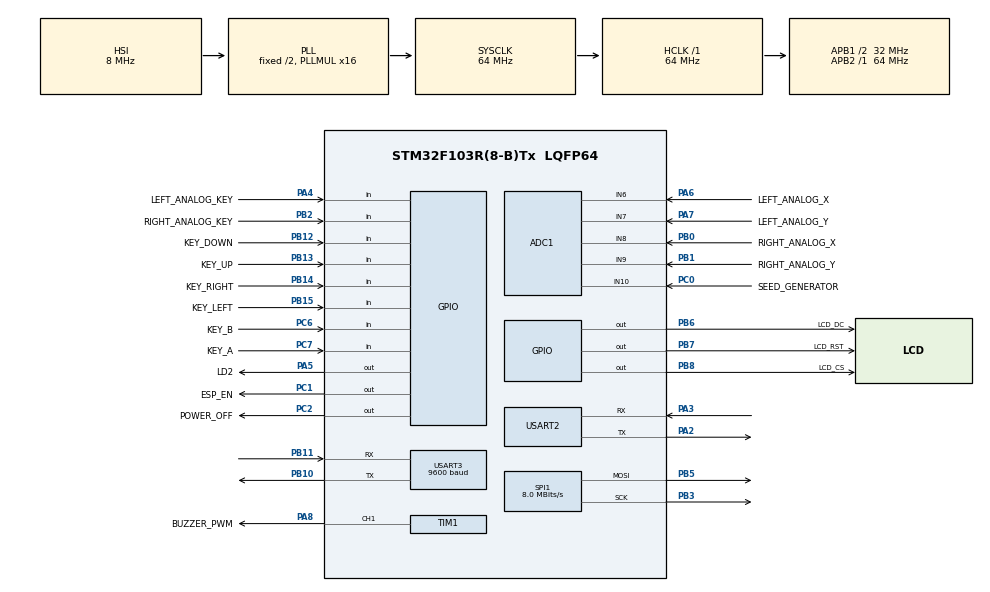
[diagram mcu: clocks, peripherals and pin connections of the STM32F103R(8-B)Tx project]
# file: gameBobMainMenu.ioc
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ADC1.Channel-0\#ChannelRegularConversion=ADC_CHANNEL_6
ADC1.NbrOfConversionFlag=1
ADC1.Rank-0\#ChannelRegularConversion=1
ADC1.SamplingTime-0\#ChannelRegularConversion=ADC_SAMPLETIME_1CYCLE_5
ADC1.master=1
Dma.Request0=SPI1_TX
Dma.SPI1_TX.0.Direction=DMA_MEMORY_TO_PERIPH
Dma.SPI1_TX.0.Instance=DMA1_Channel3
Dma.SPI1_TX.0.MemDataAlignment=DMA_MDATAALIGN_BYTE
Dma.SPI1_TX.0.MemInc=DMA_MINC_ENABLE
Dma.SPI1_TX.0.Mode=DMA_NORMAL
Dma.SPI1_TX.0.PeriphDataAlignment=DMA_PDATAALIGN_BYTE
Dma.SPI1_TX.0.PeriphInc=DMA_PINC_DISABLE
Dma.SPI1_TX.0.Priority=DMA_PRIORITY_LOW
Mcu.Family=STM32F1
Mcu.Name=STM32F103R(8-B)Tx
Mcu.Package=LQFP64
NVIC.DMA1_Channel3_IRQn=true\:0\:0\:false\:false\:true\:false\:true\:true
NVIC.PriorityGroup=NVIC_PRIORITYGROUP_4
NVIC.TIM2_IRQn=true\:15\:0\:false\:false\:true\:false\:true\:true
NVIC.TimeBase=TIM2_IRQn
NVIC.TimeBaseIP=TIM2
NVIC.USART2_IRQn=true\:0\:0\:false\:false\:true\:true\:true\:true
NVIC.USART3_IRQn=true\:0\:0\:false\:false\:true\:true\:true\:true
PA13.Mode=Serial_Wire
PA13.Signal=SYS_JTMS-SWDIO
PA14.Mode=Serial_Wire
PA14.Signal=SYS_JTCK-SWCLK
PA2.Mode=Asynchronous
PA2.Signal=USART2_TX
PA3.Mode=Asynchronous
PA3.Signal=USART2_RX
PA4.GPIO_Label=LEFT_ANALOG_KEY
PA4.GPIO_PuPd=GPIO_PULLUP
PA4.Signal=GPIO_Input
PA5.GPIO_Label=LD2
PA5.Signal=GPIO_Output
PA6.GPIO_Label=LEFT_ANALOG_X
PA6.Signal=ADCx_IN6
PA7.GPIO_Label=LEFT_ANALOG_Y
PA7.Signal=ADCx_IN7
PA8.GPIO_Label=BUZZER_PWM
PA8.Signal=S_TIM1_CH1
PB0.GPIO_Label=RIGHT_ANALOG_X
PB0.Signal=ADCx_IN8
PB1.GPIO_Label=RIGHT_ANALOG_Y
PB1.Signal=ADCx_IN9
PB10.Mode=Asynchronous
PB10.Signal=USART3_TX
PB11.Mode=Asynchronous
PB11.Signal=USART3_RX
PB12.GPIO_Label=KEY_DOWN
PB12.GPIO_PuPd=GPIO_PULLUP
PB12.Signal=GPIO_Input
PB13.GPIO_Label=KEY_UP
PB13.GPIO_PuPd=GPIO_PULLUP
PB13.Signal=GPIO_Input
PB14.GPIO_Label=KEY_RIGHT
PB14.GPIO_PuPd=GPIO_PULLUP
PB14.Signal=GPIO_Input
PB15.GPIO_Label=KEY_LEFT
PB15.GPIO_PuPd=GPIO_PULLUP
PB15.Signal=GPIO_Input
PB2.GPIO_Label=RIGHT_ANALOG_KEY
PB2.GPIO_PuPd=GPIO_PULLUP
PB2.Signal=GPIO_Input
PB3.Mode=TX_Only_Simplex_Unidirect_Master
PB3.Signal=SPI1_SCK
PB5.Mode=TX_Only_Simplex_Unidirect_Master
PB5.Signal=SPI1_MOSI
PB6.GPIO_Label=LCD_DC
PB6.GPIO_Speed=GPIO_SPEED_FREQ_HIGH
PB6.PinState=GPIO_PIN_SET
PB6.Signal=GPIO_Output
PB7.GPIO_Label=LCD_RST
PB7.GPIO_PuPd=GPIO_PULLUP
PB7.GPIO_Speed=GPIO_SPEED_FREQ_HIGH
PB7.PinState=GPIO_PIN_SET
PB7.Signal=GPIO_Output
PB8.GPIO_Label=LCD_CS
PB8.GPIO_PuPd=GPIO_PULLUP
PB8.GPIO_Speed=GPIO_SPEED_FREQ_HIGH
PB8.PinState=GPIO_PIN_SET
PB8.Signal=GPIO_Output
PC0.GPIO_Label=SEED_GENERATOR
PC0.Signal=ADCx_IN10
PC1.GPIO_Label=ESP_EN
PC1.GPIO_PuPd=GPIO_PULLDOWN
PC1.Signal=GPIO_Output
PC2.GPIO_Label=POWER_OFF
PC2.Signal=GPIO_Output
PC6.GPIO_Label=KEY_B
PC6.GPIO_PuPd=GPIO_PULLUP
PC6.Signal=GPIO_Input
PC7.GPIO_Label=KEY_A
PC7.GPIO_PuPd=GPIO_PULLUP
PC7.Signal=GPIO_Input
ProjectManager.HeapSize=0x200
ProjectManager.StackSize=0x400
ProjectManager.TargetToolchain=CMake
RCC.ADCPresc=RCC_ADCPCLK2_DIV6
RCC.AHBFreq_Value=64000000
RCC.APB1CLKDivider=RCC_HCLK_DIV2
RCC.APB1Freq_Value=32000000
RCC.APB1TimFreq_Value=64000000
RCC.APB2Freq_Value=64000000
RCC.APB2TimFreq_Value=64000000
RCC.HCLKFreq_Value=64000000
RCC.PLLMUL=RCC_PLL_MUL16
RCC.SYSCLKFreq_VALUE=64000000
RCC.SYSCLKSource=RCC_SYSCLKSOURCE_PLLCLK
RCC.USBFreq_Value=64000000
SH.ADCx_IN10.0=ADC1_IN10,IN10
SH.ADCx_IN6.0=ADC1_IN6,IN6
SH.ADCx_IN7.0=ADC1_IN7,IN7
SH.ADCx_IN8.0=ADC1_IN8,IN8
SH.ADCx_IN9.0=ADC1_IN9,IN9
SH.S_TIM1_CH1.0=TIM1_CH1,PWM Generation1 CH1
SPI1.BaudRatePrescaler=SPI_BAUDRATEPRESCALER_8
SPI1.CalculateBaudRate=8.0 MBits/s
SPI1.Direction=SPI_DIRECTION_2LINES
SPI1.Mode=SPI_MODE_MASTER
SPI1.VirtualType=VM_MASTER
TIM1.AutoReloadPreload=TIM_AUTORELOAD_PRELOAD_DISABLE
TIM1.Channel-PWM\ Generation1\ CH1=TIM_CHANNEL_1
TIM1.Period=10006
TIM1.Prescaler=0
TIM1.Pulse-PWM\ Generation1\ CH1=500
USART2.VirtualMode=VM_ASYNC
USART3.BaudRate=9600
USART3.VirtualMode=VM_ASYNC
VP_SYS_VS_tim2.Mode=TIM2
board=custom

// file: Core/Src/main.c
/* USER CODE BEGIN Header */
/**
  ******************************************************************************
  * @file           : main.c
  * @brief          : Main program body
  ******************************************************************************
  * @attention
  *
  * Copyright (c) 2025 STMicroelectronics.
  * All rights reserved.
  *
  * This software is licensed under terms that can be found in the LICENSE file
  * in the root directory of this software component.
  * If no LICENSE file comes with this software, it is provided AS-IS.
  *
  ******************************************************************************
  */
/* USER CODE END Header */
#include "main.h"

/* USER CODE BEGIN Includes */
#include "projdefs.h"
#include "stm32f1xx_hal_uart.h"
#include "string.h"
#include "stdio.h"
#include "FreeRTOS.h"
#include "task.h"
#include "lcd.h"
#include "ugui.h"
#include "ugui_colors.h"
#include "user.h"
#include "images.h"
#include "main_menu.h"
#include "esp8266.h"
#include "WiFiConnection.h"
#include <inttypes.h>
#include <stdlib.h>
#include "extraTools.h"
/* USER CODE END Includes */

/* USER CODE BEGIN PM */
#define MAX_GAMES 5
#define MAX_GAME_NAME 10

#define DEFAULT_FONT FONT_6X8
#define TIM_FREQ 64000000
#define MAX_OBJECTS 10 //uGUI

//FLASH DEFINES
#define FLASH_GAME_START_ADDR   ADDR_FLASH_PAGE_64   /* Start @ of user Flash area */
#define FLASH_GAME_END_ADDR     ADDR_FLASH_PAGE_127 + FLASH_PAGE_SIZE   /* End @ of user Flash area */
/* USER CODE END PM */

ADC_HandleTypeDef hadc1;

SPI_HandleTypeDef hspi1;
DMA_HandleTypeDef hdma_spi1_tx;

TIM_HandleTypeDef htim1;

UART_HandleTypeDef huart2;
UART_HandleTypeDef huart3;

/* USER CODE BEGIN PV */
//test

static USER_INPUT uInput;
static USER_INPUT uInputOld;
static ActiveGameBobOption selected_menu_option = PLAY_GAME;
static ActiveScreen screen = MAIN_MENU_SCREEN;
static StaticTask_t xIdleTaskTCBBuffer;
static StackType_t xIdleStack[configMINIMAL_STACK_SIZE];

/*SELECT GAME VARIABLES */
static uint8_t nr_of_games = 0;
static uint8_t selected_game = 0;
static char games[MAX_GAMES][MAX_GAME_NAME];

/* UART BUFFER */

//uint8_t rx[50] = {0};
//volatile uint8_t found_flag = 0;
//uint8_t rx_index = 0;
//volatile uint8_t tx_completed_flag = 0;

/* USER CODE END PV */

void SystemClock_Config(void);
static void MX_GPIO_Init(void);
static void MX_DMA_Init(void);
static void MX_SPI1_Init(void);
static void MX_ADC1_Init(void);
static void MX_USART2_UART_Init(void);
static void MX_TIM1_Init(void);
static void MX_USART3_UART_Init(void);
/* USER CODE BEGIN PFP */
void vApplicationGetIdleTaskMemory( StaticTask_t **ppxIdleTaskTCBBuffer, StackType_t **ppxIdleTaskStackBuffer, uint32_t *pulIdleTaskStackSize );
void ADC_SetActiveChannel(ADC_HandleTypeDef *hadc, uint32_t AdcChannel);
static void initUserInput(USER_INPUT *uInput);
static void updateSelectedOption(ActiveGameBobOption selected_menu_option);
static void bootGame();
static void MX_TIM1_DeInit();
static void drawPic(PICTURE pic, uint16_t x, uint16_t y);

//POWER OFF AND FW CHANGE
static void deInitPeripherals();
static void powerOFF();

//FLASHING RELATED FUNCTIONS
static HAL_StatusTypeDef eraseOldGame();
static uint8_t checkCurrentGame(uint32_t _game_id);

//SCREEN RELATED FUNCTIONS
static void drawMainMenu();
static void mainMenuScreenLogic();
static void drawSelectGameScreen();
static void selectGameScreenLogic();
static void drawFailureScreen();
static void updateSelectedGame(uint8_t hightlighted_game);
static void updateDownloadProgress(char *part, char *nr_of_parts);
static void clearScreen();

//WiFi CONNECTION RELATED FUNCTIONS
static uint8_t initWiFi();
static uint8_t connectToWiFi();
static uint8_t getGameList(char *ret_buffer, size_t size );
static uint8_t downloadGame();
static uint8_t getGameInfo(uint8_t _selected_game, uint32_t *_game_id, int *_number_of_parts);
static int findDataBlockEnd(int offset);

//uGUI

/* TASK FUNCTIONS */
static void testTask( void *pvParameters );
static void taskMainMenu(void *pvParameters);
static void taskGetUserInput(void *pvParameters);
static void taskGameLogic(void *pvParameters);
TaskHandle_t h_task_main_menu = NULL;
TaskHandle_t h_task_game_logic = NULL;

/* USER CODE END PFP */

int main(void)
{

  /* USER CODE BEGIN 1 */
	/*
	CoreDebug->DEMCR |= CoreDebug_DEMCR_TRCENA_Msk; // Enable DWT
	DWT->CYCCNT = 0;                                // Clear counter
	DWT->CTRL = DWT_CTRL_CYCCNTENA_Msk;             // Enable counter
	*/
	BaseType_t xReturned;
  /* USER CODE END 1 */

  /* MCU Configuration--------------------------------------------------------*/

  /* Reset of all peripherals, Initializes the Flash interface and the Systick. */
  HAL_Init();

  /* Configure the system clock */
  SystemClock_Config();

  /* Initialize all configured peripherals */
  MX_GPIO_Init();
  MX_DMA_Init();
  MX_SPI1_Init();
  MX_ADC1_Init();
  MX_USART2_UART_Init();
  MX_TIM1_Init();
  MX_USART3_UART_Init();
  /* USER CODE BEGIN 2 */
  LCD_init();
  initUserInput(&uInput);

  	#ifdef DEBUG_LOG
		static char debug_output[50];
		sprintf(debug_output,"TEST \n");
		HAL_UART_Transmit_IT(&huart2, (uint8_t*)debug_output, strlen(debug_output));
	#endif
  xReturned = xTaskCreate(testTask, "task", 256, NULL, 1, NULL);
  xReturned = xTaskCreate(taskMainMenu,"taskMainMenu",256,NULL,3,&h_task_main_menu);
  xReturned = xTaskCreate(taskGetUserInput,"taskGetUserInput",256,NULL,2,NULL);

  //xReturned = xTaskCreate(taskGameLogic, "taskGameLogic", 512, NULL, 3, NULL);
  vTaskStartScheduler();
  /* USER CODE END 2 */

  /* Infinite loop */
  while (1)
  {

  }
}

void SystemClock_Config(void)
{
  RCC_OscInitTypeDef RCC_OscInitStruct = {0};
  RCC_ClkInitTypeDef RCC_ClkInitStruct = {0};
  RCC_PeriphCLKInitTypeDef PeriphClkInit = {0};

  /** Initializes the RCC Oscillators according to the specified parameters
  * in the RCC_OscInitTypeDef structure.
  */
  RCC_OscInitStruct.OscillatorType = RCC_OSCILLATORTYPE_HSI;
  RCC_OscInitStruct.HSIState = RCC_HSI_ON;
  RCC_OscInitStruct.HSICalibrationValue = RCC_HSICALIBRATION_DEFAULT;
  RCC_OscInitStruct.PLL.PLLState = RCC_PLL_ON;
  RCC_OscInitStruct.PLL.PLLSource = RCC_PLLSOURCE_HSI_DIV2;
  RCC_OscInitStruct.PLL.PLLMUL = RCC_PLL_MUL16;
  if (HAL_RCC_OscConfig(&RCC_OscInitStruct) != HAL_OK)
  {
    Error_Handler();
  }

  /** Initializes the CPU, AHB and APB buses clocks
  */
  RCC_ClkInitStruct.ClockType = RCC_CLOCKTYPE_HCLK|RCC_CLOCKTYPE_SYSCLK
                              |RCC_CLOCKTYPE_PCLK1|RCC_CLOCKTYPE_PCLK2;
  RCC_ClkInitStruct.SYSCLKSource = RCC_SYSCLKSOURCE_PLLCLK;
  RCC_ClkInitStruct.AHBCLKDivider = RCC_SYSCLK_DIV1;
  RCC_ClkInitStruct.APB1CLKDivider = RCC_HCLK_DIV2;
  RCC_ClkInitStruct.APB2CLKDivider = RCC_HCLK_DIV1;

  if (HAL_RCC_ClockConfig(&RCC_ClkInitStruct, FLASH_LATENCY_2) != HAL_OK)
  {
    Error_Handler();
  }
  PeriphClkInit.PeriphClockSelection = RCC_PERIPHCLK_ADC;
  PeriphClkInit.AdcClockSelection = RCC_ADCPCLK2_DIV6;
  if (HAL_RCCEx_PeriphCLKConfig(&PeriphClkInit) != HAL_OK)
  {
    Error_Handler();
  }
}

static void MX_ADC1_Init(void)
{

  ADC_ChannelConfTypeDef sConfig = {0};

  /** Common config
  */
  hadc1.Instance = ADC1;
  hadc1.Init.ScanConvMode = ADC_SCAN_DISABLE;
  hadc1.Init.ContinuousConvMode = DISABLE;
  hadc1.Init.DiscontinuousConvMode = DISABLE;
  hadc1.Init.ExternalTrigConv = ADC_SOFTWARE_START;
  hadc1.Init.DataAlign = ADC_DATAALIGN_RIGHT;
  hadc1.Init.NbrOfConversion = 1;
  if (HAL_ADC_Init(&hadc1) != HAL_OK)
  {
    Error_Handler();
  }

  /** Configure Regular Channel
  */
  sConfig.Channel = ADC_CHANNEL_6;
  sConfig.Rank = ADC_REGULAR_RANK_1;
  sConfig.SamplingTime = ADC_SAMPLETIME_1CYCLE_5;
  if (HAL_ADC_ConfigChannel(&hadc1, &sConfig) != HAL_OK)
  {
    Error_Handler();
  }

}

static void MX_SPI1_Init(void)
{

  /* SPI1 parameter configuration*/
  hspi1.Instance = SPI1;
  hspi1.Init.Mode = SPI_MODE_MASTER;
  hspi1.Init.Direction = SPI_DIRECTION_2LINES;
  hspi1.Init.DataSize = SPI_DATASIZE_8BIT;
  hspi1.Init.CLKPolarity = SPI_POLARITY_LOW;
  hspi1.Init.CLKPhase = SPI_PHASE_1EDGE;
  hspi1.Init.NSS = SPI_NSS_SOFT;
  hspi1.Init.BaudRatePrescaler = SPI_BAUDRATEPRESCALER_8;
  hspi1.Init.FirstBit = SPI_FIRSTBIT_MSB;
  hspi1.Init.TIMode = SPI_TIMODE_DISABLE;
  hspi1.Init.CRCCalculation = SPI_CRCCALCULATION_DISABLE;
  hspi1.Init.CRCPolynomial = 10;
  if (HAL_SPI_Init(&hspi1) != HAL_OK)
  {
    Error_Handler();
  }

}

static void MX_TIM1_Init(void)
{

  TIM_MasterConfigTypeDef sMasterConfig = {0};
  TIM_OC_InitTypeDef sConfigOC = {0};
  TIM_BreakDeadTimeConfigTypeDef sBreakDeadTimeConfig = {0};

  htim1.Instance = TIM1;
  htim1.Init.Prescaler = 0;
  htim1.Init.CounterMode = TIM_COUNTERMODE_UP;
  htim1.Init.Period = 10006;
  htim1.Init.ClockDivision = TIM_CLOCKDIVISION_DIV1;
  htim1.Init.RepetitionCounter = 0;
  htim1.Init.AutoReloadPreload = TIM_AUTORELOAD_PRELOAD_DISABLE;
  if (HAL_TIM_PWM_Init(&htim1) != HAL_OK)
  {
    Error_Handler();
  }
  sMasterConfig.MasterOutputTrigger = TIM_TRGO_RESET;
  sMasterConfig.MasterSlaveMode = TIM_MASTERSLAVEMODE_DISABLE;
  if (HAL_TIMEx_MasterConfigSynchronization(&htim1, &sMasterConfig) != HAL_OK)
  {
    Error_Handler();
  }
  sConfigOC.OCMode = TIM_OCMODE_PWM1;
  sConfigOC.Pulse = 500;
  sConfigOC.OCPolarity = TIM_OCPOLARITY_HIGH;
  sConfigOC.OCNPolarity = TIM_OCNPOLARITY_HIGH;
  sConfigOC.OCFastMode = TIM_OCFAST_DISABLE;
  sConfigOC.OCIdleState = TIM_OCIDLESTATE_RESET;
  sConfigOC.OCNIdleState = TIM_OCNIDLESTATE_RESET;
  if (HAL_TIM_PWM_ConfigChannel(&htim1, &sConfigOC, TIM_CHANNEL_1) != HAL_OK)
  {
    Error_Handler();
  }
  sBreakDeadTimeConfig.OffStateRunMode = TIM_OSSR_DISABLE;
  sBreakDeadTimeConfig.OffStateIDLEMode = TIM_OSSI_DISABLE;
  sBreakDeadTimeConfig.LockLevel = TIM_LOCKLEVEL_OFF;
  sBreakDeadTimeConfig.DeadTime = 0;
  sBreakDeadTimeConfig.BreakState = TIM_BREAK_DISABLE;
  sBreakDeadTimeConfig.BreakPolarity = TIM_BREAKPOLARITY_HIGH;
  sBreakDeadTimeConfig.AutomaticOutput = TIM_AUTOMATICOUTPUT_DISABLE;
  if (HAL_TIMEx_ConfigBreakDeadTime(&htim1, &sBreakDeadTimeConfig) != HAL_OK)
  {
    Error_Handler();
  }
  HAL_TIM_MspPostInit(&htim1);

}

static void MX_USART2_UART_Init(void)
{

  huart2.Instance = USART2;
  huart2.Init.BaudRate = 115200;
  huart2.Init.WordLength = UART_WORDLENGTH_8B;
  huart2.Init.StopBits = UART_STOPBITS_1;
  huart2.Init.Parity = UART_PARITY_NONE;
  huart2.Init.Mode = UART_MODE_TX_RX;
  huart2.Init.HwFlowCtl = UART_HWCONTROL_NONE;
  huart2.Init.OverSampling = UART_OVERSAMPLING_16;
  if (HAL_UART_Init(&huart2) != HAL_OK)
  {
    Error_Handler();
  }

}

static void MX_USART3_UART_Init(void)
{

  huart3.Instance = USART3;
  huart3.Init.BaudRate = 9600;
  huart3.Init.WordLength = UART_WORDLENGTH_8B;
  huart3.Init.StopBits = UART_STOPBITS_1;
  huart3.Init.Parity = UART_PARITY_NONE;
  huart3.Init.Mode = UART_MODE_TX_RX;
  huart3.Init.HwFlowCtl = UART_HWCONTROL_NONE;
  huart3.Init.OverSampling = UART_OVERSAMPLING_16;
  if (HAL_UART_Init(&huart3) != HAL_OK)
  {
    Error_Handler();
  }

}

static void MX_DMA_Init(void)
{

  /* DMA controller clock enable */
  __HAL_RCC_DMA1_CLK_ENABLE();

  /* DMA interrupt init */
  /* DMA1_Channel3_IRQn interrupt configuration */
  HAL_NVIC_SetPriority(DMA1_Channel3_IRQn, 0, 0);
  HAL_NVIC_EnableIRQ(DMA1_Channel3_IRQn);

}

static void MX_GPIO_Init(void)
{
  GPIO_InitTypeDef GPIO_InitStruct = {0};

  /* GPIO Ports Clock Enable */
  __HAL_RCC_GPIOC_CLK_ENABLE();
  __HAL_RCC_GPIOA_CLK_ENABLE();
  __HAL_RCC_GPIOB_CLK_ENABLE();

  /*Configure GPIO pin Output Level */
  HAL_GPIO_WritePin(GPIOC, ESP_EN_Pin|POWER_OFF_Pin, GPIO_PIN_RESET);

  /*Configure GPIO pin Output Level */
  HAL_GPIO_WritePin(LD2_GPIO_Port, LD2_Pin, GPIO_PIN_RESET);

  /*Configure GPIO pin Output Level */
  HAL_GPIO_WritePin(GPIOB, LCD_DC_Pin|LCD_RST_Pin|LCD_CS_Pin, GPIO_PIN_SET);

  /*Configure GPIO pin : ESP_EN_Pin */
  GPIO_InitStruct.Pin = ESP_EN_Pin;
  GPIO_InitStruct.Mode = GPIO_MODE_OUTPUT_PP;
  GPIO_InitStruct.Pull = GPIO_PULLDOWN;
  GPIO_InitStruct.Speed = GPIO_SPEED_FREQ_LOW;
  HAL_GPIO_Init(ESP_EN_GPIO_Port, &GPIO_InitStruct);

  /*Configure GPIO pin : POWER_OFF_Pin */
  GPIO_InitStruct.Pin = POWER_OFF_Pin;
  GPIO_InitStruct.Mode = GPIO_MODE_OUTPUT_PP;
  GPIO_InitStruct.Pull = GPIO_NOPULL;
  GPIO_InitStruct.Speed = GPIO_SPEED_FREQ_LOW;
  HAL_GPIO_Init(POWER_OFF_GPIO_Port, &GPIO_InitStruct);

  /*Configure GPIO pin : LEFT_ANALOG_KEY_Pin */
  GPIO_InitStruct.Pin = LEFT_ANALOG_KEY_Pin;
  GPIO_InitStruct.Mode = GPIO_MODE_INPUT;
  GPIO_InitStruct.Pull = GPIO_PULLUP;
  HAL_GPIO_Init(LEFT_ANALOG_KEY_GPIO_Port, &GPIO_InitStruct);

  /*Configure GPIO pin : LD2_Pin */
  GPIO_InitStruct.Pin = LD2_Pin;
  GPIO_InitStruct.Mode = GPIO_MODE_OUTPUT_PP;
  GPIO_InitStruct.Pull = GPIO_NOPULL;
  GPIO_InitStruct.Speed = GPIO_SPEED_FREQ_LOW;
  HAL_GPIO_Init(LD2_GPIO_Port, &GPIO_InitStruct);

  /*Configure GPIO pins : RIGHT_ANALOG_KEY_Pin KEY_DOWN_Pin KEY_UP_Pin KEY_RIGHT_Pin
                           KEY_LEFT_Pin */
  GPIO_InitStruct.Pin = RIGHT_ANALOG_KEY_Pin|KEY_DOWN_Pin|KEY_UP_Pin|KEY_RIGHT_Pin
                          |KEY_LEFT_Pin;
  GPIO_InitStruct.Mode = GPIO_MODE_INPUT;
  GPIO_InitStruct.Pull = GPIO_PULLUP;
  HAL_GPIO_Init(GPIOB, &GPIO_InitStruct);

  /*Configure GPIO pins : KEY_B_Pin KEY_A_Pin */
  GPIO_InitStruct.Pin = KEY_B_Pin|KEY_A_Pin;
  GPIO_InitStruct.Mode = GPIO_MODE_INPUT;
  GPIO_InitStruct.Pull = GPIO_PULLUP;
  HAL_GPIO_Init(GPIOC, &GPIO_InitStruct);

  /*Configure GPIO pin : LCD_DC_Pin */
  GPIO_InitStruct.Pin = LCD_DC_Pin;
  GPIO_InitStruct.Mode = GPIO_MODE_OUTPUT_PP;
  GPIO_InitStruct.Pull = GPIO_NOPULL;
  GPIO_InitStruct.Speed = GPIO_SPEED_FREQ_HIGH;
  HAL_GPIO_Init(LCD_DC_GPIO_Port, &GPIO_InitStruct);

  /*Configure GPIO pins : LCD_RST_Pin LCD_CS_Pin */
  GPIO_InitStruct.Pin = LCD_RST_Pin|LCD_CS_Pin;
  GPIO_InitStruct.Mode = GPIO_MODE_OUTPUT_PP;
  GPIO_InitStruct.Pull = GPIO_PULLUP;
  GPIO_InitStruct.Speed = GPIO_SPEED_FREQ_HIGH;
  HAL_GPIO_Init(GPIOB, &GPIO_InitStruct);

}

/* USER CODE BEGIN 4 */

void ADC_SetActiveChannel(ADC_HandleTypeDef *hadc, uint32_t AdcChannel)
{
  ADC_ChannelConfTypeDef sConfig = {0};
  sConfig.Channel = AdcChannel;
  sConfig.Rank = 1;
  sConfig.SamplingTime = ADC_SAMPLETIME_1CYCLE_5;
  if (HAL_ADC_ConfigChannel(hadc, &sConfig) != HAL_OK)
  {
   Error_Handler();
  }
}

static void testTask( void *pvParameters ){

	for(;;){
		HAL_GPIO_TogglePin(LD2_GPIO_Port, LD2_Pin);
	    vTaskDelay(500);
	}
}

static void drawPic(PICTURE pic, uint16_t x, uint16_t y){
	uint16_t start_x = x;
	uint16_t start_y = y;
	uint16_t cur_x = start_x;
	uint16_t cur_y = start_y;
	for(uint16_t i =0; i<pic.height;i++){
		cur_x = start_x;
		for(uint16_t j=0;j<pic.width;j++){
			uint8_t max_shift = j == pic.width-1 ?  4 :  0;
			for(int8_t k=7;k>=max_shift;k--){
				uint8_t temp = 1;
				temp <<=k;
				uint8_t current_value = pic.pic[i][j];
				uint8_t temp2 = current_value & temp;
				if( temp2 == temp){
					UG_DrawPixel(cur_x, cur_y, C_WHITE);
				}
				else{
					UG_DrawPixel(cur_x, cur_y, C_BLACK);
				}
				cur_x++;
			}
		}
		cur_y+=1;
	}

}

static void drawFailureScreen(){
	//UG_FillScreen(C_WHITE);
	//UG_FillFrame(0, 0, LCD_WIDTH, LCD_HEIGHT, C_WHITE);
	clearScreen();
	//UG_Update();
	char text_buffer[30];
	sprintf(text_buffer, "Failed. Press A to return");
	LCD_PutStr(LCD_WIDTH / 2 - (10 * strlen(text_buffer) / 2),
			LCD_HEIGHT / 2 - 8, text_buffer, FONT_10X16, C_BLACK, C_WHITE);
	//UG_Update();
}

static void drawSelectGameScreen(){
	//UG_FillScreen(C_WHITE);
	//UG_FillFrame(0, 0, LCD_WIDTH, LCD_HEIGHT, C_WHITE);
	clearScreen();
	char text_buffer[25];
	sprintf(text_buffer, "Loading Game List...");
	LCD_PutStr(LCD_WIDTH / 2 - (10 * strlen(text_buffer) / 2),
			LCD_HEIGHT / 2 - 8, text_buffer, FONT_10X16, C_BLACK, C_WHITE);
	//UG_Update();

	uint8_t esp8266_ret;

	if(initWiFi() != ESP8266_OK){
		drawFailureScreen();
		return;
	}
	//result = Esp8266_ChangeBaudRate(9600, 8, 1, 0, 0);
	//  result = Esp8266_ListAP(output);
	if(connectToWiFi() != ESP8266_OK){
		drawFailureScreen();
		return;
	}

	char game_list[50] = {0};
	esp8266_ret = getGameList(game_list, 100);
	if(esp8266_ret != ESP8266_OK){
		drawFailureScreen();
		return;
	}
	else{

		clearScreen();
		char *token = strtok(game_list," ");
		//char temp_buff[100];
		int i = 0;
		while(token){
			strcpy(games[nr_of_games], token); //save game name
			nr_of_games++;
			LCD_PutStr(LCD_WIDTH / 2 - (16 * strlen(token) / 2),
					26+i, token, FONT_16X26, C_BLACK, C_WHITE);
			token = strtok(NULL," ");
			i+=26;
		}
		if(i==0){
			LCD_PutStr(LCD_WIDTH / 2 - (16 * strlen("Nothing to load") / 2),
					LCD_HEIGHT/2, "Nothing to load", FONT_16X26, C_BLACK, C_WHITE);
		}

	}

}

static uint8_t initWiFi(){
	HAL_GPIO_WritePin(ESP_EN_GPIO_Port, ESP_EN_Pin, GPIO_PIN_SET);
	vTaskDelay(pdMS_TO_TICKS(1000));
	uint8_t esp8266_ret = Esp8266_Init(&huart3);
	if(esp8266_ret != ESP8266_OK){
		return esp8266_ret;
	}
	esp8266_ret = Esp8266_SetCwMode(1);
	if(esp8266_ret != ESP8266_OK){
		return esp8266_ret;
	}
	return esp8266_ret;
}

static uint8_t connectToWiFi(){
	char server[] = "172.20.10.4";
	char port[] = "5000";

	uint8_t esp8266_ret = Esp8266_ConnectAP(ssid, pwd); //ssid and pwd inside the WiFiConnection.h
	if(esp8266_ret != ESP8266_OK){
		return esp8266_ret;
	}
	//result = Esp8266_GetIpAddress(output, output_size);
	esp8266_ret = Esp8266_StartTCPIPConnection(server, port);
	vTaskDelay(pdMS_TO_TICKS(1000));
	uint8_t retry_counter = 1;
	while(esp8266_ret == ESP8266_ERROR && retry_counter < 3){
		esp8266_ret = Esp8266_StartTCPIPConnection(server, port);
		retry_counter++;
	}
	if(esp8266_ret != ESP8266_OK){
		return esp8266_ret;
	}
	return esp8266_ret;
}

static uint8_t getGameList(char *ret_buffer, size_t size ){
	char cmd[60];
	char server[] = "172.20.10.4";

	sprintf(cmd, "GET /gameList.txt HTTP/1.1\r\nHost: %s\r\n\r\n", server);
	uint8_t esp8266_ret = Esp8266_SendIpCommand(cmd);
	if(esp8266_ret != ESP8266_OK){
		return esp8266_ret;
	}
	/* Interpret data from server */
	//#ifdef DEBUG_LOG
	//	sprintf(debug_output,"Finding index \n");
	//	HAL_UART_Transmit_IT(&huart2, (uint8_t*)debug_output, strlen(debug_output));
	//#endif

	int data_start_index = find_str((char*)rx_buffer,"DATA START\n", strlen("DATA START\n"));

	#ifdef DEBUG_LOG
		static char debug_output[50];
		sprintf(debug_output,"Found index %d",data_start_index);
		HAL_UART_Transmit_IT(&huart2, (uint8_t*)debug_output, strlen(debug_output));
		vTaskDelay(pdMS_TO_TICKS(1000));
	#endif

	char *raw_data = (char*)rx_buffer + data_start_index;
	char game_list[128];
	strcpy(game_list,raw_data);
	char *token = strtok(game_list,"\n");
	char temp_buff[100]={0};
	while(token){
		#ifdef DEBUG_LOG
			HAL_UART_Transmit_IT(&huart2, (uint8_t*)token, strlen(token));
			vTaskDelay(pdMS_TO_TICKS(1000));
			HAL_UART_Transmit_IT(&huart2, (uint8_t*)"\n", strlen("\n"));
			vTaskDelay(pdMS_TO_TICKS(100));
		#endif

		token = strtok(NULL,"\n");
		if(token == NULL || strstr(token,"STOP") != NULL)
			break;

		//if(strlen(token)<100-strlen(temp_buff) && find_str(token, "DATA STOP", strlen("DATA STOP"))){

		if(strlen(token)<100-strlen(temp_buff)){// && strstr(token,"STOP") == NULL){

			strcat(temp_buff,token);
			strcat(temp_buff," ");
			//	#ifdef DEBUG_LOG
			//	HAL_UART_Transmit_IT(&huart2, (uint8_t*)temp_buff, strlen(temp_buff));
			//	vTaskDelay(pdMS_TO_TICKS(1000));
			//#endif
		}
	}
		#ifdef DEBUG_LOG
			HAL_UART_Transmit_IT(&huart2, (uint8_t*)"While End \n", strlen("While End \n"));
			vTaskDelay(pdMS_TO_TICKS(1000));
		#endif
	if(strlen(temp_buff)<size){
		strcpy(ret_buffer, temp_buff);
	}
	else{
		strcpy(ret_buffer, "ERROR");
	}
	#ifdef DEBUG_LOG
		HAL_UART_Transmit_IT(&huart2, (uint8_t*)ret_buffer, strlen(ret_buffer));
		vTaskDelay(pdMS_TO_TICKS(1000));
	#endif
	return esp8266_ret;

}

/* Check if the game in the flash has the same game ID*/
static uint8_t checkCurrentGame(uint32_t _game_id){
	if(_game_id == ADDR_GAME_ID){
		return 1;
	}
	else{
		return 0;
	}
}

static HAL_StatusTypeDef eraseOldGame(){
	HAL_StatusTypeDef status;
	FLASH_EraseInitTypeDef EraseInitStruct;
	EraseInitStruct.TypeErase = FLASH_PROC_PAGEERASE;
	EraseInitStruct.PageAddress = FLASH_GAME_START_ADDR;
	EraseInitStruct.NbPages = (FLASH_GAME_END_ADDR-FLASH_GAME_START_ADDR)/FLASH_PAGE_SIZE;
	uint32_t PAGEError;
	status = HAL_FLASH_Unlock();
	if(status!=HAL_OK){
		return status;
	}
	status = HAL_FLASHEx_Erase(&EraseInitStruct, &PAGEError);
	return status;

}

static void updateDownloadProgress(char *part, char *nr_of_parts){
	//UG_FillScreen(C_WHITE);
	//UG_FillFrame(0, 0, LCD_WIDTH, LCD_HEIGHT, C_WHITE);
	clearScreen();
	LCD_PutStr(LCD_WIDTH / 2 - (10 * strlen("Downloading game...") / 2),
			LCD_HEIGHT/4, "Downloading game...", FONT_10X16, C_BLACK, C_WHITE);
	char text[10];
	sprintf(text, "%s/%s",part,nr_of_parts);
	LCD_PutStr(LCD_WIDTH / 2 - (10 * strlen(text) / 2),
			LCD_HEIGHT/4+32, text, FONT_10X16, C_BLACK, C_WHITE);
}

/* Get info about game ID and number of parts to download*/
static uint8_t  getGameInfo(uint8_t _selected_game, uint32_t *_game_id, int *_number_of_parts){
	char cmd[60];
	char server[] = "172.20.10.4";
	char port[] = "5000";

	uint8_t esp8266_ret = Esp8266_StartTCPIPConnection(server, port);
	vTaskDelay(pdMS_TO_TICKS(1000));

	sprintf(cmd, "GET /%s_info.txt HTTP/1.1\r\nHost: %s\r\n\r\n", games[_selected_game],server);
	esp8266_ret = Esp8266_SendIpCommand(cmd);
	if(esp8266_ret != ESP8266_OK){
		return esp8266_ret;
	}
	/* TODO: check if 404*/

	int data_start_index = find_str((char*)rx_buffer,"DATA START\n", strlen("DATA START\n"));

	char *raw_data = (char*)rx_buffer + data_start_index;
	char game_info[64];
	strcpy(game_info,raw_data);
	char *token = strtok(game_info,"\n");
	char temp_buff[64]={0};
	int i = 0;
	while(token){
		token = strtok(NULL,"\n"); //Skip data start
		if(token == NULL || strstr(token,"STOP") != NULL)
			break;
		if(i ==0)
			*_game_id = atoi(token);
		else{
			*_number_of_parts = atoi(token);
			break;
		}
		i++;

	}
	return 0;
}

static uint8_t downloadGame(){

	char server[] = "172.20.10.4";
	char port[] = "5000";
	uint8_t esp8266_ret;
	HAL_StatusTypeDef status;

	int loop_index=0;
	const char *key = "\r\n+IPD,";
	const char *key_start;
	int key_index = 0;
	int key_start_index;
	int data_block_end;
	uint8_t found_colon_flag;
	uint8_t retry_counter;

	uint32_t received_byte;
	uint32_t byte_to_flash = 0;
	uint32_t address = FLASH_GAME_START_ADDR;
	int byte_counter = 0;

	char cmd[60];
	char part_str[3];
	int nr_of_parts = 0;
	char nr_of_parts_str[3];
	uint32_t game_id;
	int part = 1;

	//char server[] = "172.20.10.4";
	getGameInfo(selected_game, &game_id, &nr_of_parts); //Ask server about game id and number of parts to download
	if(checkCurrentGame(game_id)){
		LCD_PutStr(LCD_WIDTH / 2 - (10 * strlen("Game is in memory") / 2),
			LCD_HEIGHT/2, "Game is in memory", FONT_10X16, C_BLACK, C_WHITE);
			return 0;
	}

	status = eraseOldGame();
	if(status!=HAL_OK){
		return ESP8266_ERROR;
	}
	intToString(nr_of_parts, nr_of_parts_str, 3);
	while(part<=nr_of_parts){

		esp8266_ret = Esp8266_StartTCPIPConnection(server, port);
		retry_counter = 1;
		while(esp8266_ret == ESP8266_ERROR && retry_counter < 3){
			esp8266_ret = Esp8266_StartTCPIPConnection(server, port);
			retry_counter++;
		}
		intToString(part, part_str, 3);
		updateDownloadProgress(part_str, nr_of_parts_str);
		key_index = 0;
		loop_index = 0;
		sprintf(cmd, "GET /gameBobpong/pong_part%s.bin HTTP/1.1\r\nHost: %s\r\n\r\n", part_str, server);
		esp8266_ret = Esp8266_SendIpCommand(cmd);
		if(esp8266_ret != ESP8266_OK){
			return esp8266_ret;
		}

		/* Interpret data from server */
		do{

			key_start_index = find_str((char*)rx_buffer+key_index, key, strlen(key));
			key_start = (char*)rx_buffer + key_start_index;
			if(key_start_index!=-1){
				key_index = key_start - (char*)rx_buffer + 5; //+5 to skip +IPD: chars
				if(loop_index == 0){ //skip first block of data (header etc...)
					loop_index++;
				}
				else{
					data_block_end = findDataBlockEnd(key_index);
					if(data_block_end==-1){//error in communication
						return ESP8266_ERROR;
					}
					found_colon_flag = 0;
					for(int i=key_index;i<data_block_end;i++){
						if(!found_colon_flag){
							if(rx_buffer[i] == ':'){
								found_colon_flag = 1;
							}
						}
						else{ //RECEIVED BYTE
							received_byte = rx_buffer[i];
							received_byte<<=8*byte_counter;
							byte_to_flash |=received_byte;
							if(byte_counter==3){//Whole word received - ready to flash
								byte_counter = 0;
								status = HAL_FLASH_Program(FLASH_TYPEPROGRAM_WORD, address, byte_to_flash);
								address+=4;
								byte_to_flash = 0;
								if(address == 0x080105B0){
									address = address;
								}

							}
							else{
								byte_counter++;
							}

						}
					}
				}
			}
			else{
				break;
			}

		}while(key_start_index!=-1);
		part++;
	}
	status = HAL_FLASH_Lock();
	if(part >= nr_of_parts){
		//UG_FillScreen(C_WHITE);
		//UG_FillFrame(0, 0, LCD_WIDTH, LCD_HEIGHT, C_WHITE);
		//HAL_Delay(100);
		clearScreen();
		LCD_PutStr(LCD_WIDTH / 2 - (10 * strlen("Download OK") / 2),
				LCD_HEIGHT/2, "Download OK", FONT_10X16, C_BLACK, C_WHITE);
	}
	else{
		//UG_FillScreen(C_WHITE);
		//UG_FillFrame(0, 0, LCD_WIDTH, LCD_HEIGHT, C_WHITE);
		//HAL_Delay(100);
		clearScreen();
		LCD_PutStr(LCD_WIDTH / 2 - (10 * strlen("Download ERROR") / 2),
				LCD_HEIGHT/2, "Download ERROR", FONT_10X16, C_BLACK, C_WHITE);
	}

	return esp8266_ret;
}

static int findDataBlockEnd(int offset){
	const char *key = "\r\n+IPD,";
	int block_end = 0;
	int next_key_index;
	//const char *next_key = strstr((char*)rx_buffer+offset,key);
	next_key_index = find_str((char*)rx_buffer+offset, key, strlen(key));
	const char *next_key = (char*)rx_buffer+next_key_index;
	if(next_key_index != -1){
		return next_key_index;//next_key - (char*)rx_buffer;
	}
	else{
		const char *end_key = "CLOSED";
		next_key_index = find_str((char*)rx_buffer+offset, end_key, strlen(end_key));
		return next_key_index;
	}
}

static void selectGameScreenLogic(){
	//Go back to main menu
	if (uInput.keyA == GPIO_PIN_RESET) {
		screen = MAIN_MENU_SCREEN;
		HAL_GPIO_WritePin(ESP_EN_GPIO_Port, ESP_EN_Pin, GPIO_PIN_RESET); //Disable ESP8266
		drawMainMenu();
		updateSelectedOption(selected_menu_option);
	}
	//Select game and download it
	if (uInput.keyB == GPIO_PIN_RESET) {
		downloadGame();
	}

	/*MOVE THROUGH OPTIONS*/
	if (uInput.keyDown == GPIO_PIN_RESET && uInput.keyDown != uInputOld.keyDown) {
		if (selected_game < nr_of_games) {
			selected_game++;
			updateSelectedGame(selected_game);
		}
	}
	else if (uInput.keyUp == GPIO_PIN_RESET && uInput.keyUp != uInputOld.keyUp) {
		if (selected_game > 0) {
			selected_game--;
			updateSelectedGame(selected_game);
		}
	}
}

static void drawMainMenu(){
	clearScreen();
	//UG_Update();
	UG_FillFrame(0, 0, LCD_WIDTH, 30, C_PURPLE);
	char text_buffer[25];
	sprintf(text_buffer, "Welcome to GameBob!");
	LCD_PutStr(10, 10, text_buffer, FONT_12X20, C_WHITE, C_PURPLE);
	drawPic(play_game_pic,LCD_WIDTH/2-42, LCD_HEIGHT/2-62);
	drawPic(load_game_pic, LCD_WIDTH/2-42, LCD_HEIGHT/2);
	drawPic(power_off_pic, LCD_WIDTH/2-42, LCD_HEIGHT/2+62);
	//UG_Update();
}

static void clearScreen(){
	for(int i=0;i<3;i++){
		UG_FillScreen(C_WHITE);
	}
}

static void mainMenuScreenLogic(){

	//Select option if confirmed
	if (selected_menu_option == PLAY_GAME && uInput.keyB == GPIO_PIN_RESET) {
		bootGame();
	}
	if (selected_menu_option == SELECT_GAME && uInput.keyB == GPIO_PIN_RESET) {
		screen = SELECT_GAME_SCREEN;
		drawSelectGameScreen();
	}
	if (selected_menu_option == POWER_OFF && uInput.keyB == GPIO_PIN_RESET){
		powerOFF();
	}

	//Check if selected option changed
	if (uInput.keyDown == GPIO_PIN_RESET && uInput.keyDown != uInputOld.keyDown) {
		if (selected_menu_option < POWER_OFF) {
			selected_menu_option++;
			updateSelectedOption(selected_menu_option);
		}
	}
	else if (uInput.keyUp == GPIO_PIN_RESET && uInput.keyUp != uInputOld.keyUp) {
		if (selected_menu_option > PLAY_GAME) {
			selected_menu_option--;
			updateSelectedOption(selected_menu_option);
		}
	}
}

static void taskMainMenu(void *pvParameters){

	drawMainMenu();
	updateSelectedOption(selected_menu_option);

	BaseType_t xReturned;
	//uint8_t game_started_flag = 0;
	for (;;) {
		switch (screen) {
		case (MAIN_MENU_SCREEN):
			mainMenuScreenLogic();
			break;
		case (SELECT_GAME_SCREEN):
			selectGameScreenLogic();
			break;

		default:
			mainMenuScreenLogic();
		}

		vTaskDelay(33);
	}

}

static void taskGetUserInput(void *pvParameters){
	/* Check analog input */
	uint16_t joystick[4] = {0}; //0 - X axis ; 1 - Y axis
	char buffer[20];
	uint32_t adc_channel = ADC_CHANNEL_6;
	uint32_t adc_channels[4] = {ADC_CHANNEL_6,ADC_CHANNEL_7,ADC_CHANNEL_8,ADC_CHANNEL_9};
	for(;;){
		for(int i=0;i<4;i++){
			ADC_SetActiveChannel(&hadc1, adc_channels[i]);
			HAL_ADC_Start(&hadc1);
			HAL_ADC_PollForConversion(&hadc1, 10);
			joystick[i] = HAL_ADC_GetValue(&hadc1);
		}

		uInputOld = uInput;

		uInput.leftXAxis = joystick[0];
		uInput.leftYAxis = joystick[1];
		uInput.rightXAxis = joystick[2];
		uInput.rightYAxis = joystick[3];

		/* Check analog key press */
		uInput.leftAnalogKey = HAL_GPIO_ReadPin(LEFT_ANALOG_KEY_GPIO_Port, LEFT_ANALOG_KEY_Pin);
		uInput.rightAnalogKey = HAL_GPIO_ReadPin(RIGHT_ANALOG_KEY_GPIO_Port, RIGHT_ANALOG_KEY_Pin);

		/* Check buttons state */
		uInput.keyDown = HAL_GPIO_ReadPin(KEY_DOWN_GPIO_Port, KEY_DOWN_Pin);
		uInput.keyUp = HAL_GPIO_ReadPin(KEY_UP_GPIO_Port, KEY_UP_Pin);
		uInput.keyB = HAL_GPIO_ReadPin(KEY_B_GPIO_Port, KEY_B_Pin);
		uInput.keyA = HAL_GPIO_ReadPin(KEY_A_GPIO_Port, KEY_A_Pin);
		uInput.keyLeft = HAL_GPIO_ReadPin(KEY_LEFT_GPIO_Port, KEY_LEFT_Pin);
		uInput.keyRight = HAL_GPIO_ReadPin(KEY_RIGHT_GPIO_Port, KEY_RIGHT_Pin);

		/* Get seed */
		ADC_SetActiveChannel(&hadc1, ADC_CHANNEL_10);
		HAL_ADC_Start(&hadc1);
		HAL_ADC_PollForConversion(&hadc1, 10);
		uInput.seed = HAL_ADC_GetValue(&hadc1);

		vTaskDelay(33);
	}
}

static void initUserInput(USER_INPUT *uInput){
	uInput->leftXAxis = 2000;
	uInput->leftYAxis = 2000;
	uInput->rightXAxis = 2000;
	uInput->rightYAxis = 2000;
	uInput->keyLeft = GPIO_PIN_SET;
	uInput->keyRight = GPIO_PIN_SET;
	uInput->keyUp = GPIO_PIN_SET;
	uInput->keyDown = GPIO_PIN_SET;
	uInput->keyA = GPIO_PIN_SET;
	uInput->keyB = GPIO_PIN_SET;

	ADC_SetActiveChannel(&hadc1, ADC_CHANNEL_10);
	HAL_ADC_Start(&hadc1);
	HAL_ADC_PollForConversion(&hadc1, 10);
	uInput->seed = HAL_ADC_GetValue(&hadc1);

}

static void MX_TIM1_DeInit(){
	HAL_TIM_PWM_DeInit(&htim1);
}

static void deInitPeripherals(){
	vTaskSuspendAll();
	HAL_UART_DeInit(&huart3);
	HAL_UART_DeInit(&huart2);
	MX_TIM1_DeInit();
	HAL_ADC_DeInit(&hadc1);
	HAL_SPI_DeInit(&hspi1);
	__HAL_RCC_DMA1_CLK_DISABLE();
	HAL_NVIC_DisableIRQ(DMA1_Channel3_IRQn);
	//__HAL_RCC_GPIOC_CLK_DISABLE();
	//__HAL_RCC_GPIOA_CLK_DISABLE();
	//__HAL_RCC_GPIOB_CLK_DISABLE();

	  /*Configure GPIO pin Output Level */
	HAL_GPIO_WritePin(LD2_GPIO_Port, LD2_Pin, GPIO_PIN_RESET);

	  /*Configure GPIO pin Output Level */
	HAL_GPIO_WritePin(GPIOB, LCD_DC_Pin|LCD_RST_Pin|LCD_CS_Pin, GPIO_PIN_SET);

	HAL_GPIO_DeInit(LEFT_ANALOG_KEY_GPIO_Port, LEFT_ANALOG_KEY_Pin);
	HAL_GPIO_DeInit(LD2_GPIO_Port, LD2_Pin);
	HAL_GPIO_DeInit(GPIOB, RIGHT_ANALOG_KEY_Pin|KEY_DOWN_Pin|KEY_UP_Pin);
	HAL_GPIO_DeInit(GPIOC, KEY_B_Pin|KEY_A_Pin);
	HAL_GPIO_DeInit(LCD_DC_GPIO_Port, LCD_DC_Pin);
	HAL_GPIO_DeInit(GPIOB, LCD_RST_Pin|LCD_CS_Pin);

	__HAL_RCC_GPIOB_CLK_DISABLE();
	__HAL_RCC_GPIOA_CLK_DISABLE();
	HAL_RCC_DeInit();
	HAL_DeInit();
	SysTick->CTRL = 0;
	SysTick->LOAD = 0;
	SysTick->VAL = 0;
}

static void bootGame(){
	uint32_t address = 0x8010000;
	typedef void (application_t)(void);
	typedef struct
	{
	    uint32_t		stack_addr;     // Stack Pointer
	    application_t*	func_p;        // Program Counter
	} JumpStruct;
	const JumpStruct* vector_p = (JumpStruct*)address;
	//uint32_t game_address = 0x8010000;
	//uint32_t msp_address = *(__IO uint32_t*)game_address;
	//uint32_t reset_address = *(__IO uint32_t*)(game_address+4);
	deInitPeripherals();
	__HAL_RCC_GPIOC_CLK_DISABLE(); // GPIOC not deinitialized inside deInitPeripherals
	//SCB->VTOR = game_address;
	//void (*jumpAddress)(void);
	//jumpAddress = (void (*)())reset_address;
	//jumpAddress();

	//__set_MSP(msp_address);
	asm("msr msp, %0; bx %1;" : : "r"(vector_p->stack_addr), "r"(vector_p->func_p));

}

static void updateSelectedGame(uint8_t hightlighted_game){
	//uint16_t option_colors[3] = {C_WHITE, C_WHITE, C_WHITE};

	uint16_t color;
	int padding = 0;
	int font_height = 26;
	for(uint8_t i=0; i<nr_of_games; i++){
		color = hightlighted_game == i ? C_PURPLE :  C_WHITE;
		UG_DrawFrame(0, font_height+padding, LCD_WIDTH, 2*font_height+padding, color);
		UG_DrawFrame(0, font_height+padding-1, LCD_WIDTH, 2*font_height+padding+1, color);
		padding+=26;
	}

}

static void updateSelectedOption(ActiveGameBobOption selected_menu_option){
	uint16_t option_colors[3] = {C_WHITE, C_WHITE, C_WHITE};

	for(int i=0; i<3; i++){
		option_colors[i] = selected_menu_option == i ?  C_PURPLE : C_WHITE;
	}
	uint16_t pic_width = 84;
	uint16_t pic_height = 51;
	UG_DrawFrame(LCD_WIDTH/2-42, LCD_HEIGHT/2-62, LCD_WIDTH/2-42+pic_width, LCD_HEIGHT/2-62+pic_height, option_colors[0]);
	UG_DrawFrame(LCD_WIDTH/2-42-1, LCD_HEIGHT/2-62-1, LCD_WIDTH/2-42+pic_width+1, LCD_HEIGHT/2-62+1+pic_height, option_colors[0]);

	UG_DrawFrame(LCD_WIDTH/2-42, LCD_HEIGHT/2, LCD_WIDTH/2-42+pic_width, LCD_HEIGHT/2+pic_height, option_colors[1]);
	UG_DrawFrame(LCD_WIDTH/2-42-1, LCD_HEIGHT/2-1, LCD_WIDTH/2-42+1+pic_width, LCD_HEIGHT/2+1+pic_height, option_colors[1]);

	UG_DrawFrame(LCD_WIDTH/2-42, LCD_HEIGHT/2+62, LCD_WIDTH/2-42+pic_width, LCD_HEIGHT/2+62+pic_height, option_colors[2]);
	UG_DrawFrame(LCD_WIDTH/2-42-1, LCD_HEIGHT/2+62-1, LCD_WIDTH/2-42+1+pic_width, LCD_HEIGHT/2+62+1+pic_height, option_colors[2]);

}

void vApplicationGetIdleTaskMemory( StaticTask_t **ppxIdleTaskTCBBuffer, StackType_t **ppxIdleTaskStackBuffer, uint32_t *pulIdleTaskStackSize )
{
  *ppxIdleTaskTCBBuffer = &xIdleTaskTCBBuffer;
  *ppxIdleTaskStackBuffer = &xIdleStack[0];
  *pulIdleTaskStackSize = configMINIMAL_STACK_SIZE;
  /* place for user code */
}

static void powerOFF(){
	//deInitPeripherals();
	HAL_GPIO_WritePin(POWER_OFF_GPIO_Port, POWER_OFF_Pin, GPIO_PIN_SET);
}

static void window_1_callback(UG_MESSAGE *msg)
{

}

void HAL_UART_TxCpltCallback(UART_HandleTypeDef *huart)
{
	ESP8266_UART_TxCpltCallback(huart);
	/*
	tx_completed_flag = 1;
	*/
}

void HAL_UART_RxCpltCallback(UART_HandleTypeDef *huart)
{
	ESP8266_UART_RxCpltCallback(huart);

}

/* USER CODE END 4 */

void HAL_TIM_PeriodElapsedCallback(TIM_HandleTypeDef *htim)
{
  if (htim->Instance == TIM2)
  {
    HAL_IncTick();
  }
}

void Error_Handler(void)
{
  __disable_irq();
  while (1)
  {
  }
}
